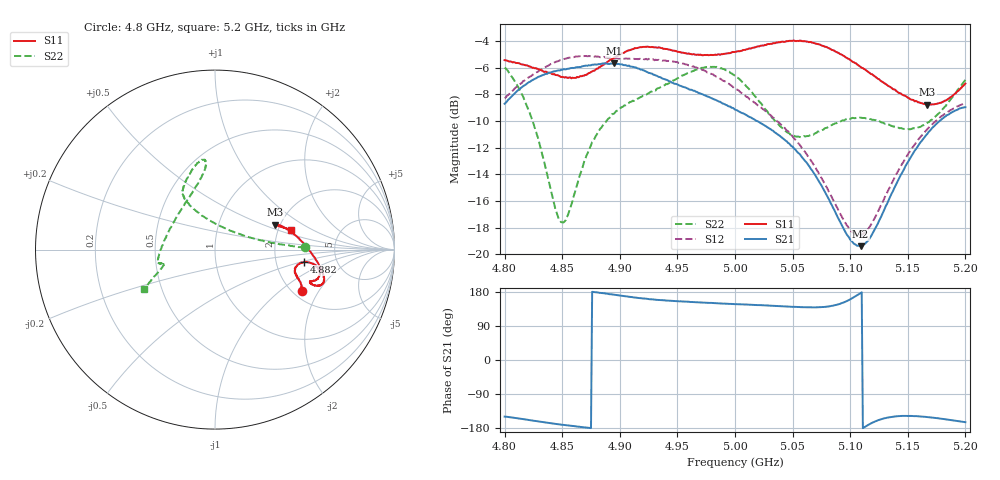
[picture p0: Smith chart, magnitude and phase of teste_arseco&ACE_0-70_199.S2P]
! Network Analyzer HP8722D
! Hewlett-Packard
! Data name: Linha & Wilkinson
! Saver's name: Rodrigo Anjos
! Comments: Teste da utilização de aquisição
! continua pelo VNA HP8722D
! Time and date: 8/5/2025 14:25
!  Frequency  S11  S21  S12  S22
# HZ  S  MA R 50
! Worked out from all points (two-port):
!   401 points, 4.8 GHz to 5.2 GHz, reference 50 ohm
!   highest |S21| = -5.67 dB at 4.895 GHz (marker M1); lowest = -19.4 dB at 5.109 GHz (marker M2)
!   |S21| within 3 dB of the highest: 4.801 GHz to 4.989 GHz (188.2 MHz wide, 3.85 % of centre)
!   lowest |S11| = -8.8 dB at 5.167 GHz (marker M3), VSWR 2.15, Z = 94.4 + j30.2 ohm
!   |S11| at or under -10 dB: nowhere
!   |S22| runs from -17.6 to -5.9 dB; largest |S21 - S12| = 1.1
!   S11 on the Smith chart (normalised r, x): 4.8 GHz: 2.23, -1.43; 4.882 GHz: 2.91, -0.54; 5.2 GHz: 2.33, +0.64
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4.8e9  0.5345 -25.4  0.3667 -149.4  0.3849 10.1  0.5007 1.4
4.812e9  0.5211 -22.3  0.4131 -154.2  0.4294 8.4  0.4224 2.7
4.823e9  0.504 -20.5  0.447 -159.2  0.4661 6.9  0.3275 6.4
4.848e9  0.4647 -15.9  0.4888 -170.0  0.5341 2.7  0.1336 55.4
4.854e9  0.4599 -14.7  0.4953 -172.4  0.5431 1.8  0.1376 81.1
4.867e9  0.4654 -10.9  0.5064 -177.0  0.5515 -0.1  0.2078 111.8
4.882e9  0.5027 -7.9  0.5167 177.4  0.5499 -1.2  0.291 119.6
4.895e9  0.5464 -8.2  0.5206 172.3  0.5422 -1.0  0.3369 120.4
4.914e9  0.5931 -11.6  0.5021 164.6  0.5398 -0.8  0.3804 118.0
4.934e9  0.5973 -15.8  0.4619 158.4  0.536 -1.8  0.4201 112.1
4.976e9  0.5594 -18.7  0.3905 150.9  0.48 -5.5  0.5039 98.5
5e9  0.5738 -19.5  0.3486 147.4  0.4196 -5.6  0.4669 96.6
5.044e9  0.6274 -17.9  0.2666 141.4  0.2941 2.7  0.2893 131.6
5.067e9  0.6219 -13.6  0.2059 138.8  0.2213 9.3  0.2814 164.7
5.098e9  0.5419 -2.8  0.1169 156.9  0.1269 37.8  0.3214 -170.6
5.109e9  0.5038 2.3  0.1071 176.5  0.1179 59.5  0.3253 -167.2
5.118e9  0.4743 6.8  0.1165 -167.5  0.1288 76.7  0.3211 -166.2
5.134e9  0.4259 14.6  0.1618 -150.9  0.1768 94.6  0.3058 -165.6
5.151e9  0.3852 20.6  0.2247 -147.6  0.2406 100.9  0.2943 -164.6
5.167e9  0.3641 22.4  0.2828 -150.7  0.2948 102.0  0.3114 -161.5
5.183e9  0.3772 20.2  0.3294 -156.7  0.3385 102.1  0.3599 -156.6
5.2e9  0.4364 14.8  0.3559 -164.1  0.3693 102.5  0.4504 -150.8
